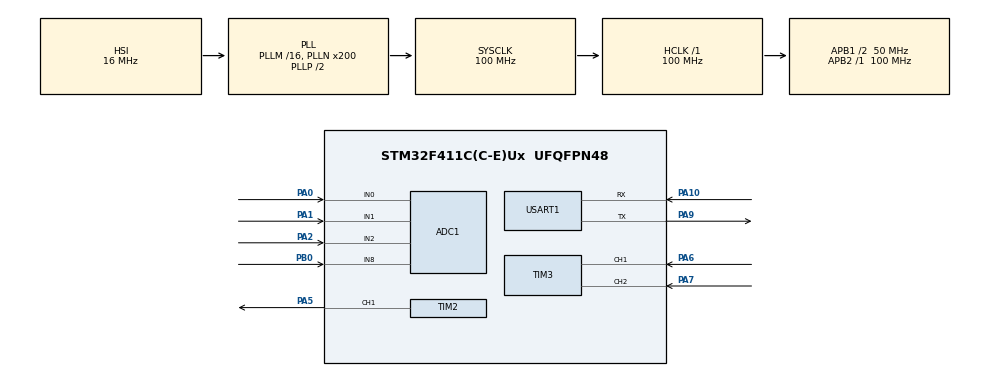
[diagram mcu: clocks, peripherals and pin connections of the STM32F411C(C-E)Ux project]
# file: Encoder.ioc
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ADC1.Channel-0\#ChannelRegularConversion=ADC_CHANNEL_0
ADC1.Channel-1\#ChannelRegularConversion=ADC_CHANNEL_1
ADC1.Channel-2\#ChannelRegularConversion=ADC_CHANNEL_2
ADC1.Channel-3\#ChannelRegularConversion=ADC_CHANNEL_8
ADC1.ClockPrescaler=ADC_CLOCK_SYNC_PCLK_DIV8
ADC1.ContinuousConvMode=ENABLE
ADC1.DMAContinuousRequests=ENABLE
ADC1.InjNumberOfConversion=0
ADC1.NbrOfConversion=4
ADC1.NbrOfConversionFlag=1
ADC1.Rank-0\#ChannelRegularConversion=1
ADC1.Rank-1\#ChannelRegularConversion=2
ADC1.Rank-2\#ChannelRegularConversion=3
ADC1.Rank-3\#ChannelRegularConversion=4
ADC1.SamplingTime-0\#ChannelRegularConversion=ADC_SAMPLETIME_56CYCLES
ADC1.SamplingTime-1\#ChannelRegularConversion=ADC_SAMPLETIME_56CYCLES
ADC1.SamplingTime-2\#ChannelRegularConversion=ADC_SAMPLETIME_56CYCLES
ADC1.SamplingTime-3\#ChannelRegularConversion=ADC_SAMPLETIME_56CYCLES
ADC1.ScanConvMode=ENABLE
ADC1.master=1
Dma.ADC1.0.Direction=DMA_PERIPH_TO_MEMORY
Dma.ADC1.0.FIFOMode=DMA_FIFOMODE_DISABLE
Dma.ADC1.0.Instance=DMA2_Stream0
Dma.ADC1.0.MemDataAlignment=DMA_MDATAALIGN_HALFWORD
Dma.ADC1.0.MemInc=DMA_MINC_ENABLE
Dma.ADC1.0.Mode=DMA_CIRCULAR
Dma.ADC1.0.PeriphDataAlignment=DMA_PDATAALIGN_HALFWORD
Dma.ADC1.0.PeriphInc=DMA_PINC_DISABLE
Dma.ADC1.0.Priority=DMA_PRIORITY_LOW
Dma.Request0=ADC1
Mcu.Family=STM32F4
Mcu.Name=STM32F411C(C-E)Ux
Mcu.Package=UFQFPN48
NVIC.DMA2_Stream0_IRQn=true\:0\:0\:false\:false\:true\:false\:true\:true
NVIC.PriorityGroup=NVIC_PRIORITYGROUP_4
NVIC.TIM1_UP_TIM10_IRQn=true\:3\:0\:true\:false\:true\:true\:true\:true
PA0-WKUP.Signal=ADCx_IN0
PA1.Signal=ADCx_IN1
PA10.Mode=Asynchronous
PA10.Signal=USART1_RX
PA13.Mode=Serial_Wire
PA13.Signal=SYS_JTMS-SWDIO
PA14.Mode=Serial_Wire
PA14.Signal=SYS_JTCK-SWCLK
PA2.Signal=ADCx_IN2
PA5.Signal=S_TIM2_CH1_ETR
PA6.Signal=S_TIM3_CH1
PA7.Signal=S_TIM3_CH2
PA9.Mode=Asynchronous
PA9.Signal=USART1_TX
PB0.Signal=ADCx_IN8
ProjectManager.HeapSize=0x200
ProjectManager.StackSize=0x400
ProjectManager.TargetToolchain=MDK-ARM V5.32
RCC.48MHZClocksFreq_Value=50000000
RCC.AHBFreq_Value=100000000
RCC.APB1CLKDivider=RCC_HCLK_DIV2
RCC.APB1Freq_Value=50000000
RCC.APB1TimFreq_Value=100000000
RCC.APB2Freq_Value=100000000
RCC.APB2TimFreq_Value=100000000
RCC.CortexFreq_Value=100000000
RCC.HCLKFreq_Value=100000000
RCC.HSE_VALUE=25000000
RCC.HSI_VALUE=16000000
RCC.LSE_VALUE=32768
RCC.PLLN=200
RCC.SYSCLKFreq_VALUE=100000000
RCC.SYSCLKSource=RCC_SYSCLKSOURCE_PLLCLK
RCC.VCOOutputFreq_Value=200000000
SH.ADCx_IN0.0=ADC1_IN0,IN0
SH.ADCx_IN1.0=ADC1_IN1,IN1
SH.ADCx_IN2.0=ADC1_IN2,IN2
SH.ADCx_IN8.0=ADC1_IN8,IN8
SH.S_TIM2_CH1_ETR.0=TIM2_CH1,PWM Generation1 CH1
SH.S_TIM3_CH1.0=TIM3_CH1,Encoder_Interface
SH.S_TIM3_CH2.0=TIM3_CH2,Encoder_Interface
TIM1.Period=1000-1
TIM1.Prescaler=100-1
TIM2.Channel-PWM\ Generation1\ CH1=TIM_CHANNEL_1
TIM2.Period=100-1
TIM2.Prescaler=99
TIM3.EncoderMode=TIM_ENCODERMODE_TI12
USART1.VirtualMode=VM_ASYNC
VP_TIM1_VS_ClockSourceINT.Mode=Internal
VP_TIM2_VS_ClockSourceINT.Mode=Internal
board=custom

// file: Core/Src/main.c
/* USER CODE BEGIN Header */
/**
  ******************************************************************************
  * @file           : main.c
  * @brief          : Main program body
  ******************************************************************************
  * @attention
  *
  * Copyright (c) 2025 STMicroelectronics.
  * All rights reserved.
  *
  * This software is licensed under terms that can be found in the LICENSE file
  * in the root directory of this software component.
  * If no LICENSE file comes with this software, it is provided AS-IS.
  *
  ******************************************************************************
  */
/* USER CODE END Header */
#include "main.h"
#include "adc.h"
#include "dma.h"
#include "tim.h"
#include "usart.h"
#include "gpio.h"

/* USER CODE BEGIN Includes */
#include "OLED.h"
#include "Delay.h"
#include "Key.h"
#include "Motor.h"
#include "Math.h"
#include "Stdio.h"
/* USER CODE END Includes */

void SystemClock_Config(void);
/* USER CODE BEGIN PFP */
int fputc(int c,FILE *stream)
{
	uint8_t ch[1]={c};
	HAL_UART_Transmit(&huart1,ch,1,0xffff);
	return c;
}
int fgetc(FILE *stream)
{
	uint8_t ch[1];
	HAL_UART_Receive(&huart1,ch,1,0xffff);
	return ch[0];
}
/* USER CODE END PFP */

/* USER CODE BEGIN 0 */

int16_t ADCValue[4];
#define EPSILON  0.0001
uint8_t Keynum;
int16_t PWM;
int16_t Speed;
float Target,Actual,Out;
float Kp=0,Ki=0,Kd=0;
float Error0,Error1,ErrorInt;
/* USER CODE END 0 */

int main(void)
{

  /* MCU Configuration--------------------------------------------------------*/

  /* Reset of all peripherals, Initializes the Flash interface and the Systick. */
  HAL_Init();

  /* Configure the system clock */
  SystemClock_Config();

  /* Initialize all configured peripherals */
  MX_GPIO_Init();
  MX_DMA_Init();
  MX_TIM3_Init();
  MX_TIM1_Init();
  MX_ADC1_Init();
  MX_TIM2_Init();
  MX_USART1_UART_Init();

  /* Infinite loop */
  /* USER CODE BEGIN WHILE */
	OLED_Init();

	Motor_Init();

	HAL_TIM_Encoder_Start(&htim3,TIM_CHANNEL_1);
	HAL_TIM_Encoder_Start(&htim3,TIM_CHANNEL_2);
	HAL_TIM_Base_Start_IT(&htim1);
	HAL_ADC_Start_DMA(&hadc1,(uint32_t*)ADCValue,4);
	Motor_SetPWM(50);
	OLED_ShowString(1,1,"Target:");
	OLED_ShowString(2,1,"Actual:");
	OLED_ShowString(3,1,"Kp:");
	OLED_ShowString(3,7,"Ki:");
	OLED_ShowString(3,12,"Kd:");
	printf("%d,%d,%d\r\n",32,43,52);
  while (1)
  {
		uint8_t Tar_i=0;
		float Target_Filter[5];
		while(Tar_i<5)
		{
			Target_Filter[Tar_i]=ADCValue[0]/4095.0*202-101;
			//电机out是0--100不更改，测试编码器全速运行下计数设定target
			Tar_i++;
		}
		Tar_i=0;
		Target=ADCValue[0]/4095.0*202-101;
		Kp=ADCValue[1]/4095.0*1;
		Ki=ADCValue[2]/4095.0*1;
		Kd=ADCValue[3]/4095.0*1;

		Target=(Target_Filter[0]+Target_Filter[1]+Target_Filter[2]+Target_Filter[3]+Target_Filter[4])/5;
		OLED_ShowFloatNum(1,8,Target,3,1);
		OLED_ShowFloatNum(2,8,Actual,3,1);
		OLED_ShowFloatNum(4,1,Kp,1,2);
		OLED_ShowFloatNum(4,7,Ki,1,2);
		OLED_ShowFloatNum(4,12,Kd,1,2);
		printf("%f,%f,%f\r\n",Target,Actual,Out);

    /* USER CODE END WHILE */

  }
}

void SystemClock_Config(void)
{
  RCC_OscInitTypeDef RCC_OscInitStruct = {0};
  RCC_ClkInitTypeDef RCC_ClkInitStruct = {0};

  /** Configure the main internal regulator output voltage
  */
  __HAL_RCC_PWR_CLK_ENABLE();
  __HAL_PWR_VOLTAGESCALING_CONFIG(PWR_REGULATOR_VOLTAGE_SCALE1);

  /** Initializes the RCC Oscillators according to the specified parameters
  * in the RCC_OscInitTypeDef structure.
  */
  RCC_OscInitStruct.OscillatorType = RCC_OSCILLATORTYPE_HSI;
  RCC_OscInitStruct.HSIState = RCC_HSI_ON;
  RCC_OscInitStruct.HSICalibrationValue = RCC_HSICALIBRATION_DEFAULT;
  RCC_OscInitStruct.PLL.PLLState = RCC_PLL_ON;
  RCC_OscInitStruct.PLL.PLLSource = RCC_PLLSOURCE_HSI;
  RCC_OscInitStruct.PLL.PLLM = 16;
  RCC_OscInitStruct.PLL.PLLN = 200;
  RCC_OscInitStruct.PLL.PLLP = RCC_PLLP_DIV2;
  RCC_OscInitStruct.PLL.PLLQ = 4;
  if (HAL_RCC_OscConfig(&RCC_OscInitStruct) != HAL_OK)
  {
    Error_Handler();
  }

  /** Initializes the CPU, AHB and APB buses clocks
  */
  RCC_ClkInitStruct.ClockType = RCC_CLOCKTYPE_HCLK|RCC_CLOCKTYPE_SYSCLK
                              |RCC_CLOCKTYPE_PCLK1|RCC_CLOCKTYPE_PCLK2;
  RCC_ClkInitStruct.SYSCLKSource = RCC_SYSCLKSOURCE_PLLCLK;
  RCC_ClkInitStruct.AHBCLKDivider = RCC_SYSCLK_DIV1;
  RCC_ClkInitStruct.APB1CLKDivider = RCC_HCLK_DIV2;
  RCC_ClkInitStruct.APB2CLKDivider = RCC_HCLK_DIV1;

  if (HAL_RCC_ClockConfig(&RCC_ClkInitStruct, FLASH_LATENCY_3) != HAL_OK)
  {
    Error_Handler();
  }
}

void Error_Handler(void)
{
  __disable_irq();
  while (1)
  {
  }
}
